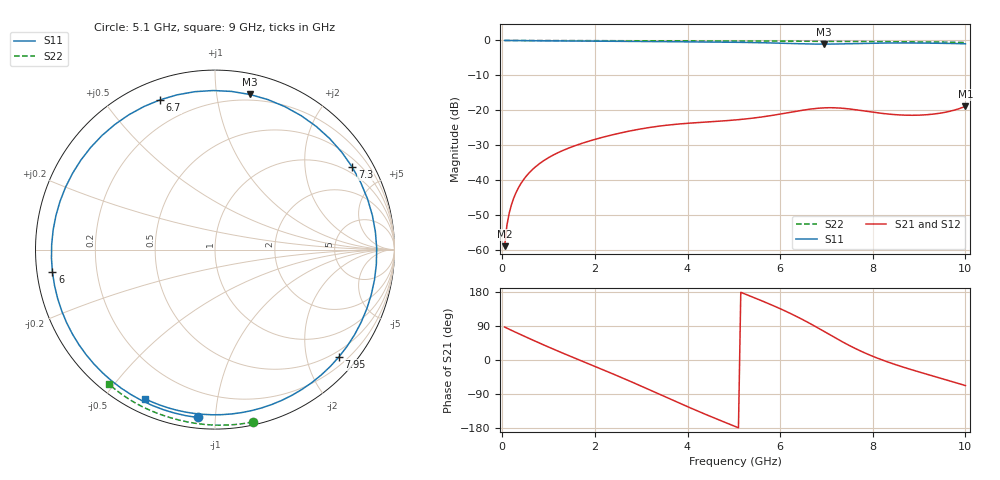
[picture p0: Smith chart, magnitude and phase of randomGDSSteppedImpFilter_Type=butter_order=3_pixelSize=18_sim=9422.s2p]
! freq	dB(S11)	phase(S11)	dB(S12)	phase(S12)
!  dB(S21)	phase(S21)	dB(S22)	phase(S22)
!S-par simulation data
#  GHz  S  DB  R 50
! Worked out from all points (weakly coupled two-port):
!   200 points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, 50 MHz to 10 GHz, reference 50 ohm
!   highest |S21| = -18.86 dB at 10 GHz (marker M1); lowest = -58.9 dB at 50 MHz (marker M2)
!   lowest |S11| = -1.1 dB at 6.95 GHz (marker M3), VSWR 16.54, Z = 7.7 + j61.9 ohm
!   |S11| at or under -10 dB: nowhere
!   |S22| runs from -0.6 to 0.0 dB; largest |S21 - S12| = 0
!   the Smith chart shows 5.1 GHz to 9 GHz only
!   S11 on the Smith chart (normalised r, x): 5.1 GHz: 0.06, -0.90; 6 GHz: 0.04, -0.07; 6.7 GHz: 0.09, +0.69; 7.3 GHz: 0.76, +3.45; 7.95 GHz: 0.37, -2.64; 9 GHz: 0.06, -0.63
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0.05  -0.00 -5.0  -58.90 86.9  -58.90 86.9  -0.00 -0.8
0.15  -0.02 -14.9  -49.41 81.1  -49.41 81.1  -0.00 -2.4
0.3  -0.04 -29.5  -43.46 72.5  -43.46 72.5  -0.01 -4.9
0.9  -0.11 -86.3  -34.37 39.4  -34.37 39.4  -0.02 -14.5
1.75  -0.18 -161.4  -29.33 -4.4  -29.33 -4.4  -0.04 -28.0
2.2  -0.21 159.7  -27.61 -27.1  -27.61 -27.1  -0.05 -35.0
2.7  -0.26 115.2  -26.07 -52.9  -26.07 -52.9  -0.07 -42.7
3.4  -0.33 50.4  -24.51 -90.7  -24.51 -90.7  -0.09 -53.2
4.1  -0.40 -13.4  -23.62 -128.4  -23.62 -128.4  -0.11 -63.4
4.6  -0.46 -55.7  -23.19 -154.2  -23.19 -154.2  -0.13 -70.5
5.05  -0.52 -91.9  -22.74 -176.4  -22.74 -176.4  -0.15 -76.8
5.1  -0.53 -95.9  -22.68 -178.9  -22.68 -178.9  -0.15 -77.5
6  -0.78 -172.2  -21.09 135.4  -21.09 135.4  -0.20 -89.8
6.35  -0.91 151.9  -20.28 115.2  -20.28 115.2  -0.22 -94.4
6.7  -1.02 110.1  -19.58 92.6  -19.58 92.6  -0.24 -98.9
6.95  -1.05 77.3  -19.30 75.3  -19.30 75.3  -0.26 -102.1
7.3  -0.99 31.0  -19.37 51.0  -19.37 51.0  -0.28 -106.6
7.6  -0.89 -5.2  -19.79 31.7  -19.79 31.7  -0.30 -110.4
7.95  -0.79 -40.9  -20.45 12.3  -20.45 12.3  -0.32 -114.8
8.35  -0.73 -73.7  -21.09 -6.4  -21.09 -6.4  -0.34 -119.9
9  -0.74 -115.1  -21.39 -31.5  -21.39 -31.5  -0.41 -128.1
10  -0.96 -168.1  -18.86 -67.6  -18.86 -67.6  -0.57 -141.5
